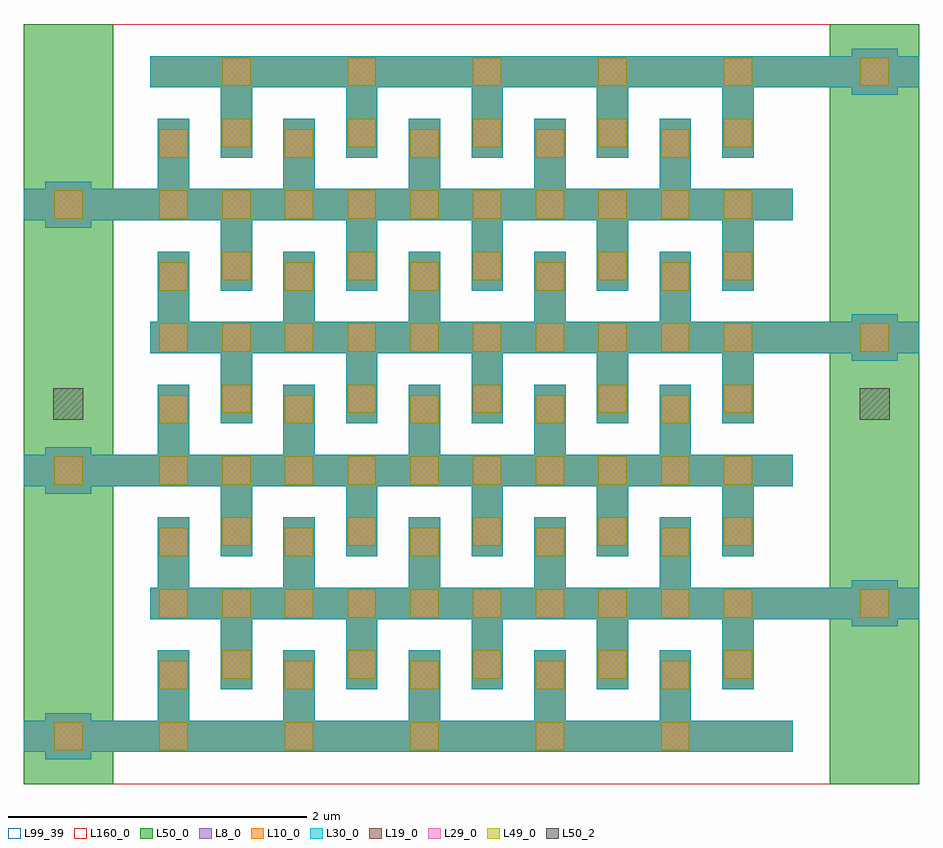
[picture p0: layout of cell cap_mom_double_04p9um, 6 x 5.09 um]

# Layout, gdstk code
import gdstk
lib = gdstk.Library(unit=1e-6, precision=1e-09)
def R(c, l, rs):  # rectangles x0, y0, x1, y1
    for r in rs: c.add(gdstk.rectangle(r[:2], r[2:], *l))
def A(c, l, x, y, w, h, nx, ny, dx, dy):  # array of equal rectangles
    R(c, l, [(x+i*dx, y+j*dy, x+i*dx+w, y+j*dy+h) for i in range(nx) for j in range(ny)])
L8_0 = (8, 0)
L10_0 = (10, 0)
L19_0 = (19, 0)
L29_0 = (29, 0)
L30_0 = (30, 0)
L49_0 = (49, 0)
L50_0 = (50, 0)
L50_2 = (50, 2)
L99_39 = (99, 39)
L160_0 = (160, 0)

cap_mom_double_04p9um = lib.new_cell('cap_mom_double_04p9um')
A(cap_mom_double_04p9um, L8_0, -0.755, -0.155, 0.31, 0.31, 1, 3, 0, 1.78)
A(cap_mom_double_04p9um, L8_0, -0.9, -0.105, 5.15, 0.21, 1, 3, 0, 1.78)
A(cap_mom_double_04p9um, L8_0, 0, 0, 0.21, 0.575, 5, 5, 0.84, 0.89)
A(cap_mom_double_04p9um, L8_0, 0.42, 0.315, 0.21, 0.575, 5, 5, 0.84, 0.89)
A(cap_mom_double_04p9um, L8_0, 4.645, 0.735, 0.31, 0.31, 1, 3, 0, 1.78)
A(cap_mom_double_04p9um, L8_0, -0.05, 0.785, 5.15, 0.21, 1, 3, 0, 1.78)
A(cap_mom_double_04p9um, L10_0, -0.755, -0.155, 0.31, 0.31, 1, 3, 0, 1.78)
A(cap_mom_double_04p9um, L10_0, -0.9, -0.105, 5.15, 0.21, 1, 3, 0, 1.78)
A(cap_mom_double_04p9um, L10_0, 0, 0, 0.21, 0.575, 5, 5, 0.84, 0.89)
A(cap_mom_double_04p9um, L10_0, 0.42, 0.315, 0.21, 0.575, 5, 5, 0.84, 0.89)
A(cap_mom_double_04p9um, L10_0, 4.645, 0.735, 0.31, 0.31, 1, 3, 0, 1.78)
A(cap_mom_double_04p9um, L10_0, -0.05, 0.785, 5.15, 0.21, 1, 3, 0, 1.78)
A(cap_mom_double_04p9um, L19_0, -0.695, -0.095, 0.19, 0.19, 1, 3, 0, 1.78)
A(cap_mom_double_04p9um, L19_0, 0.01, -0.095, 0.19, 0.19, 5, 2, 0.84, 0.41)
A(cap_mom_double_04p9um, L19_0, 0.43, 0.385, 0.19, 0.19, 5, 5, 0.84, 0.89)
A(cap_mom_double_04p9um, L19_0, 0.01, 0.795, 0.19, 0.19, 10, 4, 0.42, 0.89)
A(cap_mom_double_04p9um, L19_0, 4.705, 0.795, 0.19, 0.19, 1, 3, 0, 1.78)
A(cap_mom_double_04p9um, L19_0, 0.01, 1.205, 0.19, 0.19, 5, 4, 0.84, 0.89)
A(cap_mom_double_04p9um, L19_0, 0.43, 4.355, 0.19, 0.19, 5, 1, 0.84, 0)
A(cap_mom_double_04p9um, L29_0, -0.695, -0.095, 0.19, 0.19, 1, 3, 0, 1.78)
A(cap_mom_double_04p9um, L29_0, 0.01, -0.095, 0.19, 0.19, 5, 2, 0.84, 0.41)
A(cap_mom_double_04p9um, L29_0, 0.43, 0.385, 0.19, 0.19, 5, 5, 0.84, 0.89)
A(cap_mom_double_04p9um, L29_0, 0.01, 0.795, 0.19, 0.19, 10, 4, 0.42, 0.89)
A(cap_mom_double_04p9um, L29_0, 4.705, 0.795, 0.19, 0.19, 1, 3, 0, 1.78)
A(cap_mom_double_04p9um, L29_0, 0.01, 1.205, 0.19, 0.19, 5, 4, 0.84, 0.89)
A(cap_mom_double_04p9um, L29_0, 0.43, 4.355, 0.19, 0.19, 5, 1, 0.84, 0)
A(cap_mom_double_04p9um, L30_0, -0.755, -0.155, 0.31, 0.31, 1, 3, 0, 1.78)
A(cap_mom_double_04p9um, L30_0, -0.9, -0.105, 5.15, 0.21, 1, 3, 0, 1.78)
A(cap_mom_double_04p9um, L30_0, 0, 0, 0.21, 0.575, 5, 5, 0.84, 0.89)
A(cap_mom_double_04p9um, L30_0, 0.42, 0.315, 0.21, 0.575, 5, 5, 0.84, 0.89)
A(cap_mom_double_04p9um, L30_0, 4.645, 0.735, 0.31, 0.31, 1, 3, 0, 1.78)
A(cap_mom_double_04p9um, L30_0, -0.05, 0.785, 5.15, 0.21, 1, 3, 0, 1.78)
A(cap_mom_double_04p9um, L49_0, -0.695, -0.095, 0.19, 0.19, 1, 3, 0, 1.78)
A(cap_mom_double_04p9um, L49_0, 0.01, -0.095, 0.19, 0.19, 5, 2, 0.84, 0.41)
A(cap_mom_double_04p9um, L49_0, 0.43, 0.385, 0.19, 0.19, 5, 5, 0.84, 0.89)
A(cap_mom_double_04p9um, L49_0, 0.01, 0.795, 0.19, 0.19, 10, 4, 0.42, 0.89)
A(cap_mom_double_04p9um, L49_0, 4.705, 0.795, 0.19, 0.19, 1, 3, 0, 1.78)
A(cap_mom_double_04p9um, L49_0, 0.01, 1.205, 0.19, 0.19, 5, 4, 0.84, 0.89)
A(cap_mom_double_04p9um, L49_0, 0.43, 4.355, 0.19, 0.19, 5, 1, 0.84, 0)
A(cap_mom_double_04p9um, L50_0, -0.9, -0.105, 5.15, 0.21, 1, 3, 0, 1.78)
A(cap_mom_double_04p9um, L50_0, 0, 0, 0.21, 0.575, 5, 5, 0.84, 0.89)
A(cap_mom_double_04p9um, L50_0, 0.42, 0.315, 0.21, 0.575, 5, 5, 0.84, 0.89)
A(cap_mom_double_04p9um, L50_0, -0.05, 0.785, 5.15, 0.21, 1, 3, 0, 1.78)
R(cap_mom_double_04p9um, L50_0, [(-0.9,-0.32,-0.3,4.77), (4.5,-0.32,5.1,4.77)])
R(cap_mom_double_04p9um, L50_2, [(-0.7,2.12,-0.5,2.33), (4.7,2.12,4.9,2.33)])
R(cap_mom_double_04p9um, L99_39, [(-0.9,-0.32,5.1,4.77)])
R(cap_mom_double_04p9um, L160_0, [(-0.9,-0.32,5.1,4.77)])
cap_mom_double_04p9um.add(gdstk.Label('cap_cmomi C=16.298fF', (-0.9,-0.82), layer=63, texttype=0))

lib.write_gds('cap_mom_double_04p9um.gds')
